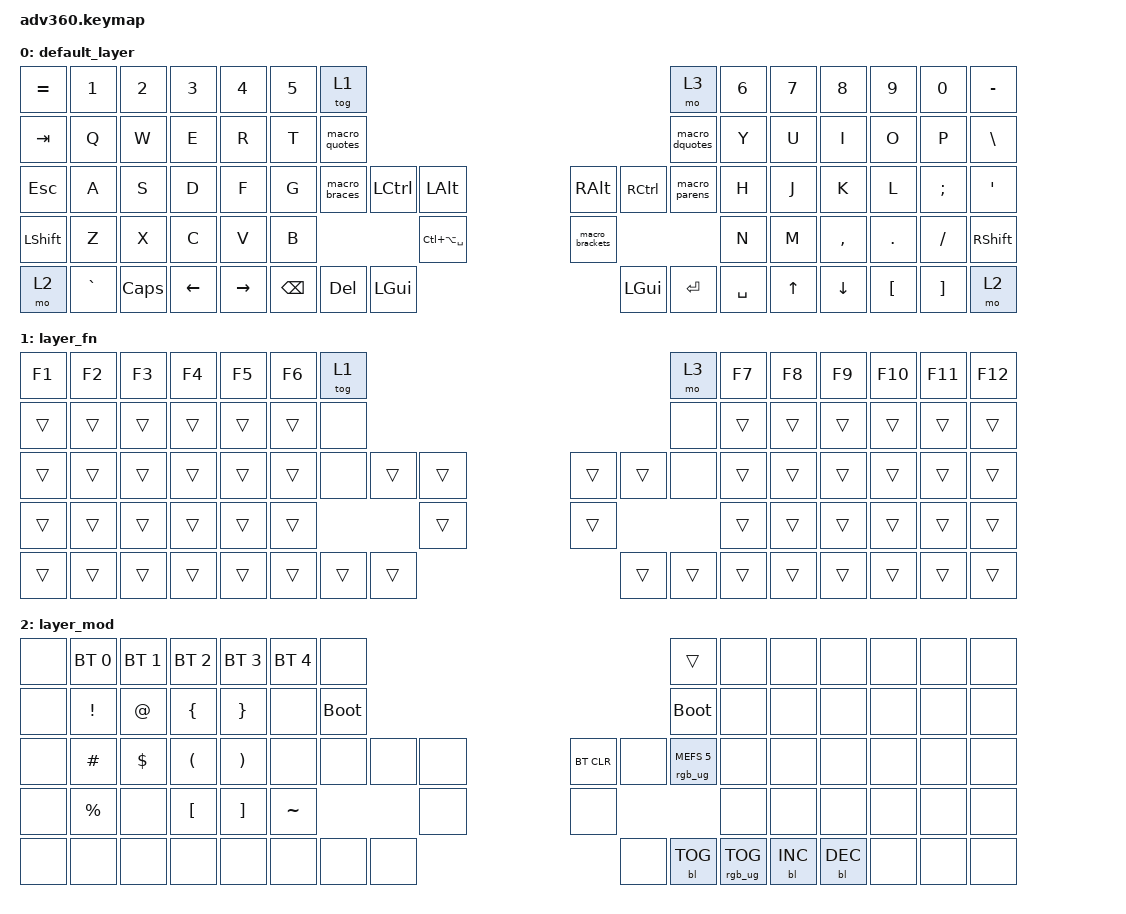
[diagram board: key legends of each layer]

/*
 * Copyright (c) 2020 The ZMK Contributors
 *
 * SPDX-License-Identifier: MIT
 */


/* THIS FILE WAS GENERATED!
 *
 * This file was generated automatically. You may or may not want to
 * edit it directly.
 */

#include <behaviors.dtsi>
#include <dt-bindings/zmk/keys.h>
#include <dt-bindings/zmk/bt.h>
#include <dt-bindings/zmk/rgb.h>
#include <dt-bindings/zmk/backlight.h>

/ {
  behaviors {
    #include "macros.dtsi"
    #include "version.dtsi"

    hm: homerow_mods {
        compatible = "zmk,behavior-hold-tap";
        label = "HOMEROW_MODS";
        #binding-cells = <2>;
        tapping-term-ms = <200>;
        quick_tap_ms = <175>;
        flavor = "tap-preferred";
        bindings = <&kp>, <&kp>;
    };
  };

    keymap {
        compatible = "zmk,keymap";


        default_layer {
            bindings = <
 &kp EQUAL     &kp N1    &kp N2    &kp N3     &kp N4  &kp N5                   &tog 1                                                                                     &mo 3  &kp N6  &kp N7     &kp N8    &kp N9    &kp N0  &kp MINUS
   &kp TAB      &kp Q     &kp W     &kp E      &kp R   &kp T            &macro_quotes                                                                            &macro_dquotes   &kp Y   &kp U      &kp I     &kp O     &kp P   &kp BSLH
   &kp ESC      &kp A     &kp S     &kp D      &kp F   &kp G            &macro_braces  &kp LCTRL           &kp LALT                         &kp RALT  &kp RCTRL   &macro_parens   &kp H   &kp J      &kp K     &kp L  &kp SEMI    &kp SQT
 &kp LSHFT      &kp Z     &kp X     &kp C      &kp V   &kp B                                      &kp LC(LA(SPACE))                  &macro_brackets                              &kp N   &kp M  &kp COMMA   &kp DOT  &kp FSLH  &kp RSHFT
     &mo 2  &kp GRAVE  &kp CAPS  &kp LEFT  &kp RIGHT                         &kp BSPC    &kp DEL           &kp LGUI                         &kp LGUI  &kp ENTER       &kp SPACE          &kp UP   &kp DOWN  &kp LBKT  &kp RBKT      &mo 2
            >;
        };

        layer_fn {
            bindings = <
 &kp F1  &kp F2  &kp F3  &kp F4  &kp F5  &kp F6            &tog 1                                                   &mo 3  &kp F7  &kp F8  &kp F9  &kp F10  &kp F11  &kp F12
 &trans  &trans  &trans  &trans  &trans  &trans             &none                                                   &none  &trans  &trans  &trans   &trans   &trans   &trans
 &trans  &trans  &trans  &trans  &trans  &trans             &none  &trans  &trans                  &trans  &trans   &none  &trans  &trans  &trans   &trans   &trans   &trans
 &trans  &trans  &trans  &trans  &trans  &trans                            &trans                  &trans                  &trans  &trans  &trans   &trans   &trans   &trans
 &trans  &trans  &trans  &trans  &trans                    &trans  &trans  &trans                  &trans  &trans  &trans          &trans  &trans   &trans   &trans   &trans
            >;
        };

        layer_mod {
            bindings = <
  &none  &bt BT_SEL 0  &bt BT_SEL 1  &bt BT_SEL 2  &bt BT_SEL 3  &bt BT_SEL 4                  &none                                                                          &trans   &none       &none       &none   &none   &none   &none
  &none      &kp EXCL        &kp AT      &kp LBRC      &kp RBRC         &none            &bootloader                                                                     &bootloader   &none       &none       &none   &none   &none   &none
  &none      &kp HASH    &kp DOLLAR      &kp LPAR      &kp RPAR         &none                  &none   &none   &none                  &bt BT_CLR       &none  &rgb_ug RGB_MEFS_CMD 5   &none       &none       &none   &none   &none   &none
  &none   &kp PERCENT         &none      &kp LBKT      &kp RBKT     &kp TILDE                                  &none                       &none                                       &none       &none       &none   &none   &none   &none
  &none         &none         &none         &none         &none                                &none   &none   &none                       &none  &bl BL_TOG         &rgb_ug RGB_TOG          &bl BL_INC  &bl BL_DEC   &none   &none   &none
            >;
        };

    };
};
